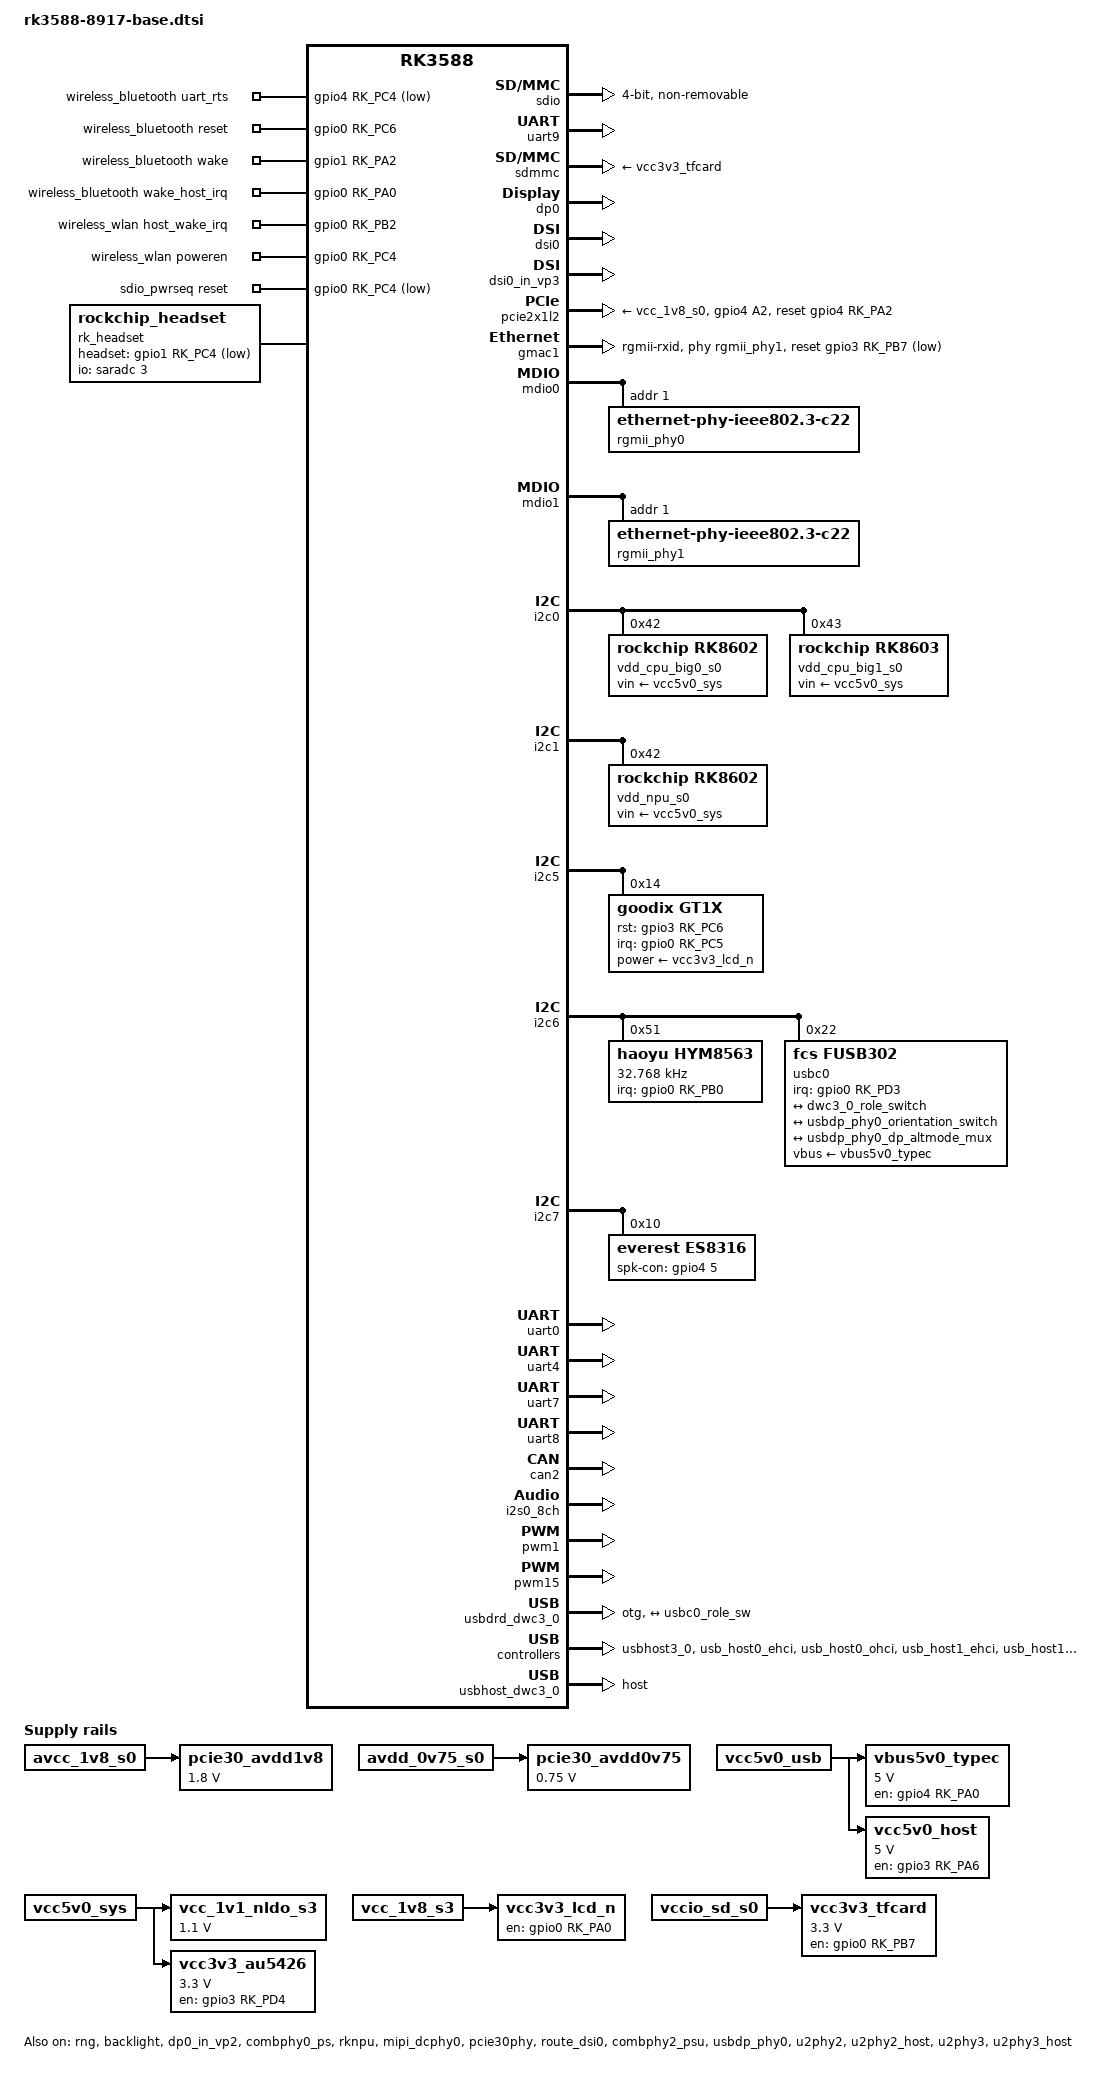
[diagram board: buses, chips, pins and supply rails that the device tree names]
// SPDX-License-Identifier: (GPL-2.0+ OR MIT)
/*
 * Copyright (c) 2021 Rockchip Electronics Co., Ltd.
 *
 */

#include "dt-bindings/usb/pd.h"
#include "rk3588.dtsi"
#include "rk3588-evb.dtsi"
#include "rk3588-rk806-single.dtsi"

/ {	
	chosen: chosen {
		bootargs = "earlycon=uart8250,mmio32,0xfeb50000 console=ttyFIQ0 irqchip.gicv3_pseudo_nmi=0 root=PARTUUID=614e0000-0000 rw rootwait";
	};
	wireless_bluetooth: wireless-bluetooth {
		compatible = "bluetooth-platdata";
		clocks = <&hym8563>;
		clock-names = "ext_clock";
		uart_rts_gpios = <&gpio4 RK_PC4 GPIO_ACTIVE_LOW>;
		pinctrl-names = "default", "rts_gpio";
		pinctrl-0 = <&uart9m0_rtsn>, <&bt_gpio>;
		pinctrl-1 = <&uart9_gpios>;
		BT,reset_gpio    = <&gpio0 RK_PC6 GPIO_ACTIVE_HIGH>;
		BT,wake_gpio     = <&gpio1 RK_PA2 GPIO_ACTIVE_HIGH>;
		BT,wake_host_irq = <&gpio0 RK_PA0 GPIO_ACTIVE_HIGH>;
		status = "okay";
	};
	wireless_wlan: wireless-wlan {
		compatible = "wlan-platdata";
		wifi_chip_type = "ap6275s";
		pinctrl-names = "default";
		pinctrl-0 = <&wifi_host_wake_irq>;
		WIFI,host_wake_irq = <&gpio0 RK_PB2 GPIO_ACTIVE_HIGH>;
		WIFI,poweren_gpio = <&gpio0 RK_PC4 GPIO_ACTIVE_HIGH>;
		status = "okay";
	};
	sdio_pwrseq: sdio-pwrseq {
		compatible = "mmc-pwrseq-simple";
		clocks = <&hym8563>;
		clock-names = "ext_clock";
		pinctrl-names = "default";
		pinctrl-0 = <&wifi_enable_h>;
		/*
			* On the module itself this is one of these (depending
			* on the actual card populated):
			* - SDIO_RESET_L_WL_REG_ON
			* - PDN (power down when low)
			*/
		post-power-on-delay-ms = <200>;
		reset-gpios = <&gpio0 RK_PC4 GPIO_ACTIVE_LOW>;
	};
	es8316-sound {
		compatible = "simple-audio-card";
		simple-audio-card,format = "i2s";
		simple-audio-card,name = "rockchipes8316c";
		simple-audio-card,mclk-fs = <256>;
		status = "okay";
		simple-audio-card,cpu {
				sound-dai = <&i2s0_8ch>;
				system-clock-frequency = <11289600>;
		};
		simple-audio-card,codec {
				sound-dai = <&es8316>;
				system-clock-frequency = <11289600>;
		};
	};

	rk_headset: rk-headset {
		status = "okay";
		compatible = "rockchip_headset";
		headset_gpio = <&gpio1 RK_PC4 GPIO_ACTIVE_LOW>;
		pinctrl-names = "default";
		pinctrl-0 = <&hp_det>;
		io-channels = <&saradc 3>;
	};
	cspmu: cspmu@fd10c000 {
		compatible = "rockchip,cspmu";
		reg = <0x0 0xfd10c000 0x0 0x1000>,
		      <0x0 0xfd10d000 0x0 0x1000>,
		      <0x0 0xfd10e000 0x0 0x1000>,
		      <0x0 0xfd10f000 0x0 0x1000>,
		      <0x0 0xfd12c000 0x0 0x1000>,
		      <0x0 0xfd12d000 0x0 0x1000>,
		      <0x0 0xfd12e000 0x0 0x1000>,
		      <0x0 0xfd12f000 0x0 0x1000>;
	};

	debug: debug@fd104000 {
		compatible = "rockchip,debug";
		reg = <0x0 0xfd104000 0x0 0x1000>,
		      <0x0 0xfd105000 0x0 0x1000>,
		      <0x0 0xfd106000 0x0 0x1000>,
		      <0x0 0xfd107000 0x0 0x1000>,
		      <0x0 0xfd124000 0x0 0x1000>,
		      <0x0 0xfd125000 0x0 0x1000>,
		      <0x0 0xfd126000 0x0 0x1000>,
		      <0x0 0xfd127000 0x0 0x1000>;
	};

	fiq_debugger: fiq-debugger {
		compatible = "rockchip,fiq-debugger";
		rockchip,serial-id = <2>;
		rockchip,wake-irq = <0>;
		/* If enable uart uses irq instead of fiq */
		rockchip,irq-mode-enable = <1>;
		rockchip,baudrate = <1500000>;  /* Only 115200 and 1500000 */
		interrupts = <GIC_SPI 423 IRQ_TYPE_LEVEL_LOW>;
		pinctrl-names = "default";
		pinctrl-0 = <&uart2m0_xfer>;
		status = "okay";
	};

	firmware {
		optee: optee {
			compatible = "linaro,optee-tz";
			method = "smc";
			//status = "disabled";
		};
	};

	ramoops: ramoops@110000 {
		compatible = "ramoops";
		reg = <0x0 0x110000 0x0 0xf0000>;
		record-size = <0x20000>;
		console-size = <0x80000>;
		ftrace-size = <0x00000>;
		pmsg-size = <0x50000>;
	};

	reserved-memory {
		#address-cells = <2>;
		#size-cells = <2>;
		ranges;

		cma {
			compatible = "shared-dma-pool";
			reusable;
			size = <0x0 (8 * 0x100000)>;
			linux,cma-default;
		};

		drm_logo: drm-logo@00000000 {
			compatible = "rockchip,drm-logo";
			reg = <0x0 0x0 0x0 0x0>;
		};

		drm_cubic_lut: drm-cubic-lut@00000000 {
			compatible = "rockchip,drm-cubic-lut";
			reg = <0x0 0x0 0x0 0x0>;
		};
	};

	pcie30_avdd1v8: pcie30-avdd1v8 {
		compatible = "regulator-fixed";
		regulator-name = "pcie30_avdd1v8";
		regulator-boot-on;
		regulator-always-on;
		regulator-min-microvolt = <1800000>;
		regulator-max-microvolt = <1800000>;
		vin-supply = <&avcc_1v8_s0>;
	};

	pcie30_avdd0v75: pcie30-avdd0v75 {
		compatible = "regulator-fixed";
		regulator-name = "pcie30_avdd0v75";
		regulator-boot-on;
		regulator-always-on;
		regulator-min-microvolt = <750000>;
		regulator-max-microvolt = <750000>;
		vin-supply = <&avdd_0v75_s0>;
	};

	reserved-memory {
		#address-cells = <2>;
		#size-cells = <2>;
		ranges;
		dma_trans: dma-trans@3c000000 {
			reg = <0x0 0x3c000000 0x0 0x04000000>;
		};
	};

	vbus5v0_typec: vbus5v0-typec {
		compatible = "regulator-fixed";
		regulator-name = "vbus5v0_typec";
		regulator-min-microvolt = <5000000>;
		regulator-max-microvolt = <5000000>;
		enable-active-high;
		gpio = <&gpio4 RK_PA0 GPIO_ACTIVE_HIGH>;
		vin-supply = <&vcc5v0_usb>;
		pinctrl-names = "default";
		pinctrl-0 = <&typec5v_pwren>;
	};

	vcc_1v1_nldo_s3: vcc-1v1-nldo-s3 {
		compatible = "regulator-fixed";
		regulator-name = "vcc_1v1_nldo_s3";
		regulator-always-on;
		regulator-boot-on;
		regulator-min-microvolt = <1100000>;
		regulator-max-microvolt = <1100000>;
		vin-supply = <&vcc5v0_sys>;
	};

	vcc3v3_au5426: vcc3v3-au5426 {
		compatible = "regulator-fixed";
		regulator-name = "vcc3v3_au5426";
		regulator-min-microvolt = <3300000>;
		regulator-max-microvolt = <3300000>;
		enable-active-high;
		regulator-boot-on;
		regulator-always-on;
		gpios = <&gpio3 RK_PD4 GPIO_ACTIVE_HIGH>;
		startup-delay-us = <5000>;
		vin-supply = <&vcc5v0_sys>;
	};

	vcc3v3_lcd_n: vcc3v3-lcd0-n {
		compatible = "regulator-fixed";
		regulator-name = "vcc3v3_lcd0_n";
		regulator-boot-on;
		enable-active-high;
		gpio = <&gpio0 RK_PA0 GPIO_ACTIVE_HIGH>;
		vin-supply = <&vcc_1v8_s3>;
	};

	vcc5v0_host: vcc5v0-host {
		compatible = "regulator-fixed";
		regulator-name = "vcc5v0_host";
		regulator-boot-on;
		regulator-always-on;
		regulator-min-microvolt = <5000000>;
		regulator-max-microvolt = <5000000>;
		enable-active-high;
		gpio = <&gpio3 RK_PA6 GPIO_ACTIVE_HIGH>;
		vin-supply = <&vcc5v0_usb>;
		pinctrl-names = "default";
		pinctrl-0 = <&vcc5v0_host_en>;
	};
	vcc3v3_tfcard: vcc3v3-tfcard {
		compatible = "regulator-fixed";
		regulator-name = "vcc3v3_tfcard";
		regulator-boot-on;
		regulator-always-on;
		regulator-min-microvolt = <3300000>;
		regulator-max-microvolt = <3300000>;
		enable-active-high;
		gpio = <&gpio0 RK_PB7 GPIO_ACTIVE_HIGH>;
		vin-supply = <&vccio_sd_s0>;
		startup-delay-us = <5000>;
		pinctrl-names = "default";
		pinctrl-0 = <&vcc3v3_tfcard_en>;
	};
};

&display_subsystem {
	memory-region = <&drm_logo>;
	memory-region-names = "drm-logo";
};

&rng {
	status = "okay";
};
/* WIFI&BT section */
&sdio {
	max-frequency = <150000000>;
	no-sd;
	no-mmc;
	bus-width = <4>;
	disable-wp;
	cap-sd-highspeed;
	cap-sdio-irq;
	keep-power-in-suspend;
	mmc-pwrseq = <&sdio_pwrseq>;
	non-removable;
	sd-uhs-sdr104;
	pinctrl-names = "default";
	pinctrl-0 = <&sdiom0_pins>;
	status = "okay";
};
&uart9 {
	status = "okay";
	pinctrl-names = "default";
	pinctrl-0 = <&uart9m0_xfer>, <&uart9m0_ctsn>;
};
/* TFcard section */
&sdmmc {
	max-frequency = <150000000>;
	sd-uhs-sdr104;
	vmmc-supply = <&vcc3v3_tfcard>;
	status = "okay";
};

&backlight {
	pwms = <&pwm1 0 25000 0>;
	status = "okay";
};

&dp0 {
	status = "okay";
};

&dp0_in_vp2 {
	status = "okay";
};

/*
 * mipi_dcphy0 needs to be enabled
 * when dsi0 is enabled
 */
&dsi0 {
	status = "okay";
};

&dsi0_in_vp2 {
	status = "disabled";
};

&dsi0_in_vp3 {
	status = "okay";
};

&dsi0_panel {
	power-supply = <&vcc3v3_lcd_n>;
	reset-gpios = <&gpio2 RK_PB4 GPIO_ACTIVE_LOW>;
	pinctrl-names = "default";
	pinctrl-0 = <&lcd_rst_gpio>;
};
/* ethernet section */
&combphy0_ps {
	status = "okay";
};
&pcie2x1l2 {
	reset-gpios = <&gpio4 RK_PA2 GPIO_ACTIVE_HIGH>;
	pinctrl-names = "default";
	pinctrl-0 = <&pcie2x1l2_rst_gpio>;
	rockchip,skip-scan-in-resume;
	vpcie3v3-supply = <&vcc_1v8_s0>;
	status = "okay";
};
&gmac1 {
	/* Use rgmii-rxid mode to disable rx delay inside Soc */
	phy-mode = "rgmii-rxid";
	clock_in_out = "output";

	snps,reset-gpio = <&gpio3 RK_PB7 GPIO_ACTIVE_LOW>;
	snps,reset-active-low;
	/* Reset time is 20ms, 100ms for rtl8211f */
	snps,reset-delays-us = <0 20000 100000>;

	pinctrl-names = "default";
	pinctrl-0 = <&gmac1_miim
		     &gmac1_tx_bus2
		     &gmac1_rx_bus2
		     &gmac1_rgmii_clk
		     &gmac1_rgmii_bus>;

	tx_delay = <0x44>;
	/* rx_delay = <0x4f>; */

	phy-handle = <&rgmii_phy1>;
	status = "okay";
};
&mdio0 {
	rgmii_phy0: phy@1 {
		compatible = "ethernet-phy-ieee802.3-c22";
		reg = <0x1>;
	};
};

&mdio1 {
	rgmii_phy1: phy@1 {
		compatible = "ethernet-phy-ieee802.3-c22";
		reg = <0x1>;
	};
};

&rknpu {
	status = "okay";
};

&rknpu_mmu {
	status = "okay";
};

/* use i2c bus: 0,1,5,6,7 */
&i2c0 {
	status = "okay";
	pinctrl-names = "default";
	pinctrl-0 = <&i2c0m2_xfer>;

	vdd_cpu_big0_s0: vdd_cpu_big0_mem_s0: rk8602@42 {
		compatible = "rockchip,rk8602";
		reg = <0x42>;
		vin-supply = <&vcc5v0_sys>;
		regulator-compatible = "rk860x-reg";
		regulator-name = "vdd_cpu_big0_s0";
		regulator-min-microvolt = <550000>;
		regulator-max-microvolt = <1050000>;
		regulator-ramp-delay = <2300>;
		rockchip,suspend-voltage-selector = <1>;
		regulator-boot-on;
		regulator-always-on;
		regulator-state-mem {
			regulator-off-in-suspend;
		};
	};

	vdd_cpu_big1_s0: vdd_cpu_big1_mem_s0: rk8603@43 {
		compatible = "rockchip,rk8603";
		reg = <0x43>;
		vin-supply = <&vcc5v0_sys>;
		regulator-compatible = "rk860x-reg";
		regulator-name = "vdd_cpu_big1_s0";
		regulator-min-microvolt = <550000>;
		regulator-max-microvolt = <1050000>;
		regulator-ramp-delay = <2300>;
		rockchip,suspend-voltage-selector = <1>;
		regulator-boot-on;
		regulator-always-on;
		regulator-state-mem {
			regulator-off-in-suspend;
		};
	};
};
&i2c1 {
	status = "okay";
	pinctrl-names = "default";
	pinctrl-0 = <&i2c1m2_xfer>;

	vdd_npu_s0: vdd_npu_mem_s0: rk8602@42 {
		compatible = "rockchip,rk8602";
		reg = <0x42>;
		vin-supply = <&vcc5v0_sys>;
		regulator-compatible = "rk860x-reg";
		regulator-name = "vdd_npu_s0";
		regulator-min-microvolt = <550000>;
		regulator-max-microvolt = <950000>;
		regulator-ramp-delay = <2300>;
		rockchip,suspend-voltage-selector = <1>;
		regulator-boot-on;
		regulator-always-on;
		regulator-state-mem {
			regulator-off-in-suspend;
		};
	};
};
&i2c5 {
	status = "okay";
	
	pinctrl-names = "default";
	pinctrl-0 = <&i2c5m0_xfer>;

	gt1x: gt1x@14 {
		compatible = "goodix,gt1x";
		reg = <0x14>;
		pinctrl-names = "default";
		pinctrl-0 = <&touch_gpio>;
		goodix,rst-gpio = <&gpio3 RK_PC6 GPIO_ACTIVE_HIGH>;
		goodix,irq-gpio = <&gpio0 RK_PC5 IRQ_TYPE_LEVEL_LOW>;
		power-supply = <&vcc3v3_lcd_n>;
	};
};
&i2c6 {
	status = "okay";

	pinctrl-names = "default";
	pinctrl-0 = <&i2c6m0_xfer>;
	hym8563: hym8563@51 {
		compatible = "haoyu,hym8563";
		reg = <0x51>;
		#clock-cells = <0>;
		clock-frequency = <32768>;
		clock-output-names = "hym8563";
		pinctrl-names = "default";
		pinctrl-0 = <&hym8563_int>;
		interrupt-parent = <&gpio0>;
		interrupts = <RK_PB0 IRQ_TYPE_LEVEL_LOW>;
		wakeup-source;
	};
	usbc0: fusb302@22 {
		compatible = "fcs,fusb302";
		reg = <0x22>;
		interrupt-parent = <&gpio0>;
		interrupts = <RK_PD3 IRQ_TYPE_LEVEL_LOW>;
		pinctrl-names = "default";
		pinctrl-0 = <&usbc0_int>;
		vbus-supply = <&vbus5v0_typec>;
		status = "okay";

		ports {
			#address-cells = <1>;
			#size-cells = <0>;

			port@0 {
				reg = <0>;
				usbc0_role_sw: endpoint@0 {
					remote-endpoint = <&dwc3_0_role_switch>;
				};
			};
		};

		usb_con: connector {
			compatible = "usb-c-connector";
			label = "USB-C";
			data-role = "dual";
			power-role = "dual";
			try-power-role = "sink";
			op-sink-microwatt = <1000000>;
			sink-pdos =
				<PDO_FIXED(5000, 1000, PDO_FIXED_USB_COMM)>;
			source-pdos =
				<PDO_FIXED(5000, 3000, PDO_FIXED_USB_COMM)>;

			altmodes {
				#address-cells = <1>;
				#size-cells = <0>;

				altmode@0 {
					reg = <0>;
					svid = <0xff01>;
					vdo = <0xffffffff>;
				};
			};

			ports {
				#address-cells = <1>;
				#size-cells = <0>;

				port@0 {
					reg = <0>;
					usbc0_orien_sw: endpoint {
						remote-endpoint = <&usbdp_phy0_orientation_switch>;
					};
				};

				port@1 {
					reg = <1>;
					dp_altmode_mux: endpoint {
						remote-endpoint = <&usbdp_phy0_dp_altmode_mux>;
					};
				};
			};
		};
	};

};
&i2c7 {
	pinctrl-names = "default";
	pinctrl-0 = <&i2c7m0_xfer>;
	status = "okay";
	es8316: es8316@10 {
		status = "okay";
		#sound-dai-cells = <0>;
		compatible = "everest,es8316";
		reg = <0x10>;
		clocks = <&cru I2S0_8CH_MCLKOUT>;
		clock-names = "mclk";
		pinctrl-names = "default";
		pinctrl-0 = <&i2s0_mclk>,<&spk_ctl>;
		spk-con-gpio = <&gpio4 5 GPIO_ACTIVE_HIGH>;
		extcon = <&rk_headset>;
	};
};
/* uart section (UART0-UART9) used: 0,2(debug),4, 7, 8 ,9(BT)*/
&uart0 {
        status = "okay";
        pinctrl-names = "default";
        pinctrl-0 = <&uart0m2_xfer>;
};
&uart4 {
        status = "okay";
        pinctrl-names = "default";
        pinctrl-0 = <&uart4m0_xfer>;
};
&uart7 {
        status = "okay";
        pinctrl-names = "default";
        pinctrl-0 = <&uart7m1_xfer>;
};
&uart8 {
        status = "okay";
        pinctrl-names = "default";
        pinctrl-0 = <&uart8m0_xfer>;
};
/* CAN section (can0-can2) , used: can2 */
&can2 {
	assigned-clocks = <&cru CLK_CAN2>;
	assigned-clock-rates = <150000000>;
	pinctrl-names = "default";
	pinctrl-0 = <&can2m0_pins>;
	status = "okay";
};

&mipi_dcphy0 {
	status = "okay";
};

&pcie30phy {
	status = "okay";
};

&pcie3x4 {
	compatible = "rockchip,rk3588-pcie-ep";
	memory-region = <&dma_trans>;
	busno = <1>;
};

&i2s0_8ch {
	status = "okay";
};

&pwm1 {
	status = "okay";
};

&pwm15 {
	pinctrl-0 = <&pwm15m1_pins>;
	status = "okay";
};

&route_dsi0 {
	status = "okay";
	connect = <&vp3_out_dsi0>;
};
/* USB section */
/* usb 3.0 typy-c */
&combphy2_psu {
	status = "okay";
};
&usbdp_phy0 {
	orientation-switch;
	svid = <0xff01>;
	sbu1-dc-gpios = <&gpio4 RK_PA6 GPIO_ACTIVE_HIGH>;
	sbu2-dc-gpios = <&gpio4 RK_PA7 GPIO_ACTIVE_HIGH>;
	status = "okay";
	port {
		#address-cells = <1>;
		#size-cells = <0>;
		usbdp_phy0_orientation_switch: endpoint@0 {
			reg = <0>;
			remote-endpoint = <&usbc0_orien_sw>;
		};

		usbdp_phy0_dp_altmode_mux: endpoint@1 {
			reg = <1>;
			remote-endpoint = <&dp_altmode_mux>;
		};
	};
};
&usbdrd_dwc3_0 {
	dr_mode = "otg";
	usb-role-switch;
	status = "okay";
	port {
		#address-cells = <1>;
		#size-cells = <0>;
		dwc3_0_role_switch: endpoint@0 {
			reg = <0>;
			remote-endpoint = <&usbc0_role_sw>;
		};
	};
};

/* usb3.0 host */
&usbhost3_0 {
	status = "okay";
};
&usbhost_dwc3_0 {
	dr_mode = "host";
	status = "okay";
};
&u2phy1_otg {
	phy-supply = <&vcc5v0_host>;
};
/* usb2.0 host0 */
&u2phy2 {
	status = "okay";
};
&u2phy2_host {
	status = "okay";
};
&u2phy2_host {
	phy-supply = <&vcc5v0_host>;
	status = "okay";
};
&usb_host0_ehci {
	status = "okay";
};
&usb_host0_ohci {
	status = "okay";
};
/* usb2.0 host1 */
&u2phy3 {
	status = "okay";
};
&u2phy3_host {
	status = "okay";
};
&u2phy3_host {
	phy-supply = <&vcc5v0_host>;
	status = "okay";
};
&usb_host1_ehci {
	status = "okay";
};
&usb_host1_ohci {
	status = "okay";
};

&pinctrl {
	pcie {
		pcie2x1l2_rst_gpio: pcie2x1l2-rst-gpio {
			rockchip,pins = <4 RK_PA2 RK_FUNC_GPIO &pcfg_pull_up>;
		};
	};
	hym8563 {
		hym8563_int: hym8563-int {
			rockchip,pins = <0 RK_PB0 RK_FUNC_GPIO &pcfg_pull_up>;
		};
	};
	lcd {
		lcd_rst_gpio: lcd-rst-gpio {
			rockchip,pins = <2 RK_PB4 RK_FUNC_GPIO &pcfg_pull_none>;
		};
	};

	touch {
		touch_gpio: touch-gpio {
			rockchip,pins =
				<3 RK_PC6 RK_FUNC_GPIO &pcfg_pull_up>,
				<0 RK_PC5 RK_FUNC_GPIO &pcfg_pull_none>;
		};
	};

	usb {
		vcc5v0_host_en: vcc5v0-host-en {
			rockchip,pins = <3 RK_PA6 RK_FUNC_GPIO &pcfg_pull_none>;
		};
	};

	tfcard {
		vcc3v3_tfcard_en: vcc3v3-tfcard-en {
			rockchip,pins = <0 RK_PB7 RK_FUNC_GPIO &pcfg_pull_none>;
		};
	};
	

	usb-typec {
		usbc0_int: usbc0-int {
			rockchip,pins = <0 RK_PD3 RK_FUNC_GPIO &pcfg_pull_up>;
		};

		typec5v_pwren: typec5v-pwren {
			rockchip,pins = <4 RK_PA0 RK_FUNC_GPIO &pcfg_pull_none>;
		};
	};
	sound {
		spk_ctl: spk-ctl {
				rockchip,pins = <4 RK_PA5 RK_FUNC_GPIO &pcfg_pull_down>;
		};
	};
	headphone {
		hp_det: hp-det {
				rockchip,pins = <1 RK_PC4 RK_FUNC_GPIO &pcfg_pull_none>;
		};
	};
	wireless-wlan {
		wifi_host_wake_irq: wifi-host-wake-irq {
				rockchip,pins = <0 RK_PB2 RK_FUNC_GPIO &pcfg_pull_down>;
		};

	};
	sdio-pwrseq {
		wifi_enable_h: wifi-enable-h {
				rockchip,pins = <0 RK_PC4 RK_FUNC_GPIO &pcfg_pull_none>;
		};
	};
	wireless-bluetooth {
		uart9_gpios: uart9-gpios {
				rockchip,pins = <4 RK_PC4 RK_FUNC_GPIO &pcfg_pull_none>;
		};

		bt_gpio: bt-gpio {
				rockchip,pins =
						<0 RK_PC6 RK_FUNC_GPIO &pcfg_pull_none>,
						<1 RK_PA2 RK_FUNC_GPIO &pcfg_pull_up>,
						<0 RK_PA0 RK_FUNC_GPIO &pcfg_pull_down>;
		};
	};
};
